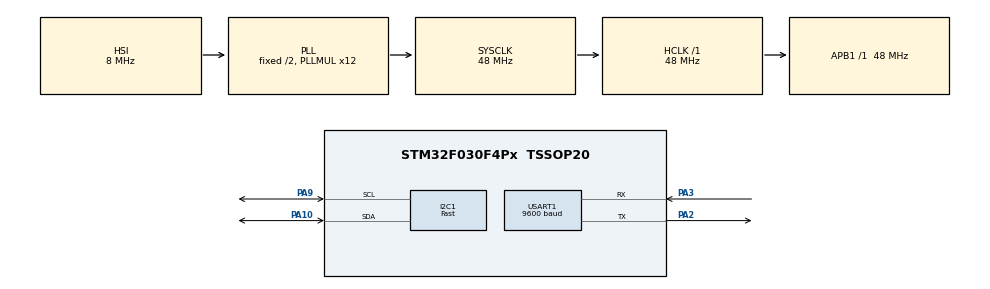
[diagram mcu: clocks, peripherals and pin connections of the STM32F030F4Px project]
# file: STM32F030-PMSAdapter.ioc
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I2C1.I2C_Speed_Mode=I2C_Fast
I2C1.OwnAddress=0x25
I2C1.Timing=0x2010091A
Mcu.Family=STM32F0
Mcu.Name=STM32F030F4Px
Mcu.Package=TSSOP20
NVIC.I2C1_IRQn=true\:0\:0\:false\:false\:true\:true\:true
NVIC.USART1_IRQn=true\:0\:0\:false\:false\:true\:true\:true
PA10.Mode=I2C
PA10.Signal=I2C1_SDA
PA2.GPIO_PuPd=GPIO_PULLUP
PA2.Mode=Asynchronous
PA2.Signal=USART1_TX
PA3.GPIO_PuPd=GPIO_PULLUP
PA3.Mode=Asynchronous
PA3.Signal=USART1_RX
PA9.Mode=I2C
PA9.Signal=I2C1_SCL
ProjectManager.HeapSize=0x200
ProjectManager.StackSize=0x400
ProjectManager.TargetToolchain=MDK-ARM V5
RCC.AHBFreq_Value=48000000
RCC.APB1Freq_Value=48000000
RCC.APB1TimFreq_Value=48000000
RCC.HCLKFreq_Value=48000000
RCC.I2c1ClockSelection=RCC_I2C1CLKSOURCE_SYSCLK
RCC.PLLMUL=RCC_PLL_MUL12
RCC.SYSCLKFreq_VALUE=48000000
RCC.SYSCLKSource=RCC_SYSCLKSOURCE_PLLCLK
USART1.BaudRate=9600
USART1.VirtualMode-Asynchronous=VM_ASYNC
board=custom

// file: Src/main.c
/* USER CODE BEGIN Header */
/**
  ******************************************************************************
  * @file           : main.c
  * @brief          : Main program body
  ******************************************************************************
  * @attention
  *
  * <h2><center>&copy; Copyright (c) 2019 STMicroelectronics.
  * All rights reserved.</center></h2>
  *
  * This software component is licensed by ST under BSD 3-Clause license,
  * the "License"; You may not use this file except in compliance with the
  * License. You may obtain a copy of the License at:
  *                        opensource.org/licenses/BSD-3-Clause
  *
  ******************************************************************************
  */
/* USER CODE END Header */

#include "main.h"

/* USER CODE BEGIN Includes */
#include <stdio.h>
#include <string.h>
/* USER CODE END Includes */

I2C_HandleTypeDef hi2c1;

UART_HandleTypeDef huart1;

void SystemClock_Config(void);
static void MX_GPIO_Init(void);
static void MX_I2C1_Init(void);
static void MX_USART1_UART_Init(void);

/* USER CODE BEGIN 0 */
int i = 0;

uint8_t data_buffer[13];

uint8_t payload[30];
uint16_t frameLen = 0;
uint16_t checksum = 0;
uint16_t calculatedChecksum = 0;
uint8_t dataIndex = 0;

void pms_process(uint8_t ch) {
  switch (dataIndex) {
    case 0:
      if (ch != 0x42) {
        return;
      }
      calculatedChecksum = ch;
      break;

    case 1:
      if (ch != 0x4D) {
        dataIndex = 0;
        return;
      }
      calculatedChecksum += ch;
      break;

    case 2:
      frameLen = ch << 8;
      calculatedChecksum += ch;
      break;

    case 3:
      frameLen |= ch;
      calculatedChecksum += ch;
      break;

    default:
      if (dataIndex == frameLen + 2) {
        checksum = ch << 8;
      } else if (dataIndex == frameLen + 2 + 1) {
        checksum |= ch;

        if (calculatedChecksum == checksum) {
          /*
          PM_SP_UG_1_0 = (((uint16_t)payload[0]) << 8) | payload[1];
          PM_SP_UG_2_5 = (((uint16_t)payload[2]) << 8) | payload[3];
          PM_SP_UG_10_0 = (((uint16_t)payload[4]) << 8) | payload[5];

          PM_AE_UG_1_0 = (((uint16_t)payload[6]) << 8) | payload[7];
          PM_AE_UG_2_5 = (((uint16_t)payload[8]) << 8) | payload[9];
          PM_AE_UG_10_0 = (((uint16_t)payload[10]) << 8) | payload[11];
          */

          data_buffer[0] = 0; // Error flag
          memcpy(&data_buffer[1], payload, 12);
        } else {
          data_buffer[0] = 1; // Error flag
          memset(&data_buffer[1], 12, 0);
        }

        dataIndex = 0;
        return;
      } else {
        calculatedChecksum += ch;
        uint8_t payloadIndex = dataIndex - 4;

        if (payloadIndex < sizeof(payload)) {
          payload[payloadIndex] = ch;
        }
      }
  }

  dataIndex++;
}

uint8_t data_offset = 0;

HAL_StatusTypeDef I2C_Slave_isr(struct __I2C_HandleTypeDef *hi2c, uint32_t ITFlags, uint32_t ITSources) {
	if (hi2c->Instance->ISR & (I2C_ISR_ADDR)) {
		/* Clear ADDR flag */
    __HAL_I2C_CLEAR_FLAG(hi2c, I2C_FLAG_ADDR);
	}

	if (hi2c->Instance->ISR & (I2C_ISR_RXNE)) {
		uint8_t data = hi2c->Instance->RXDR;
	}

	if (hi2c->Instance->ISR & (I2C_ISR_TXIS)) {
		hi2c->Instance->TXDR = data_buffer[data_offset++];
	}

	if (data_offset >= sizeof data_buffer) {
		data_offset = 0;
	}

	if (hi2c->Instance->ISR & (I2C_ISR_STOPF)) {
		__HAL_I2C_CLEAR_FLAG(hi2c, I2C_FLAG_STOPF);

    /* Clear ADDR flag */
    __HAL_I2C_CLEAR_FLAG(hi2c, I2C_FLAG_ADDR);

		// flush the transmit data register I2C_TXDR
		__HAL_I2C_CLEAR_FLAG(hi2c, I2C_FLAG_TXE);

		data_offset = 0;
	}

	return HAL_OK;
}
/* USER CODE END 0 */

int main(void)
{

  /* MCU Configuration--------------------------------------------------------*/

  /* Reset of all peripherals, Initializes the Flash interface and the Systick. */
  HAL_Init();

  /* Configure the system clock */
  SystemClock_Config();

  /* Initialize all configured peripherals */
  MX_GPIO_Init();
  MX_I2C1_Init();
  MX_USART1_UART_Init();
  /* USER CODE BEGIN 2 */

  /* Enable the UART Error Interrupt: (Frame error, noise error, overrun error) */
  SET_BIT(huart1.Instance->CR3, USART_CR3_EIE);

  /* Enable the UART Parity Error and Data Register not empty Interrupts */
  SET_BIT(huart1.Instance->CR1, USART_CR1_PEIE | USART_CR1_RXNEIE);

  // ====|| I2C Slave setup with interrupt ||====

  /* Enable Address Acknowledge */
  hi2c1.Instance->CR2 &= ~I2C_CR2_NACK;

  // Set isr function
  hi2c1.XferISR = I2C_Slave_isr;

  // Enable I2C interrup
  __HAL_I2C_ENABLE_IT(&hi2c1, I2C_IT_ADDRI | I2C_IT_STOPI | I2C_IT_TXI | I2C_IT_RXI);

  /* USER CODE END 2 */

  /* Infinite loop */
  while (1)
  {

    /* USER CODE BEGIN 3 */
    //HAL_I2C_Slave_Transmit(&hi2c1, data_buffer, 13, 100);
    //i++;
    // HAL_Delay(100);
  }
  /* USER CODE END 3 */
}

void SystemClock_Config(void)
{
  RCC_OscInitTypeDef RCC_OscInitStruct = {0};
  RCC_ClkInitTypeDef RCC_ClkInitStruct = {0};
  RCC_PeriphCLKInitTypeDef PeriphClkInit = {0};

  /** Initializes the CPU, AHB and APB busses clocks
  */
  RCC_OscInitStruct.OscillatorType = RCC_OSCILLATORTYPE_HSI;
  RCC_OscInitStruct.HSIState = RCC_HSI_ON;
  RCC_OscInitStruct.HSICalibrationValue = RCC_HSICALIBRATION_DEFAULT;
  RCC_OscInitStruct.PLL.PLLState = RCC_PLL_ON;
  RCC_OscInitStruct.PLL.PLLSource = RCC_PLLSOURCE_HSI;
  RCC_OscInitStruct.PLL.PLLMUL = RCC_PLL_MUL12;
  RCC_OscInitStruct.PLL.PREDIV = RCC_PREDIV_DIV1;
  if (HAL_RCC_OscConfig(&RCC_OscInitStruct) != HAL_OK)
  {
    Error_Handler();
  }
  /** Initializes the CPU, AHB and APB busses clocks
  */
  RCC_ClkInitStruct.ClockType = RCC_CLOCKTYPE_HCLK|RCC_CLOCKTYPE_SYSCLK
                              |RCC_CLOCKTYPE_PCLK1;
  RCC_ClkInitStruct.SYSCLKSource = RCC_SYSCLKSOURCE_PLLCLK;
  RCC_ClkInitStruct.AHBCLKDivider = RCC_SYSCLK_DIV1;
  RCC_ClkInitStruct.APB1CLKDivider = RCC_HCLK_DIV1;

  if (HAL_RCC_ClockConfig(&RCC_ClkInitStruct, FLASH_LATENCY_1) != HAL_OK)
  {
    Error_Handler();
  }
  PeriphClkInit.PeriphClockSelection = RCC_PERIPHCLK_USART1|RCC_PERIPHCLK_I2C1;
  PeriphClkInit.Usart1ClockSelection = RCC_USART1CLKSOURCE_PCLK1;
  PeriphClkInit.I2c1ClockSelection = RCC_I2C1CLKSOURCE_SYSCLK;
  if (HAL_RCCEx_PeriphCLKConfig(&PeriphClkInit) != HAL_OK)
  {
    Error_Handler();
  }
}

static void MX_I2C1_Init(void)
{

  hi2c1.Instance = I2C1;
  hi2c1.Init.Timing = 0x2010091A;
  hi2c1.Init.OwnAddress1 = 74;
  hi2c1.Init.AddressingMode = I2C_ADDRESSINGMODE_7BIT;
  hi2c1.Init.DualAddressMode = I2C_DUALADDRESS_DISABLE;
  hi2c1.Init.OwnAddress2 = 0;
  hi2c1.Init.OwnAddress2Masks = I2C_OA2_NOMASK;
  hi2c1.Init.GeneralCallMode = I2C_GENERALCALL_DISABLE;
  hi2c1.Init.NoStretchMode = I2C_NOSTRETCH_DISABLE;
  if (HAL_I2C_Init(&hi2c1) != HAL_OK)
  {
    Error_Handler();
  }
  /** Configure Analogue filter
  */
  if (HAL_I2CEx_ConfigAnalogFilter(&hi2c1, I2C_ANALOGFILTER_ENABLE) != HAL_OK)
  {
    Error_Handler();
  }
  /** Configure Digital filter
  */
  if (HAL_I2CEx_ConfigDigitalFilter(&hi2c1, 0) != HAL_OK)
  {
    Error_Handler();
  }

}

static void MX_USART1_UART_Init(void)
{

  huart1.Instance = USART1;
  huart1.Init.BaudRate = 9600;
  huart1.Init.WordLength = UART_WORDLENGTH_8B;
  huart1.Init.StopBits = UART_STOPBITS_1;
  huart1.Init.Parity = UART_PARITY_NONE;
  huart1.Init.Mode = UART_MODE_TX_RX;
  huart1.Init.HwFlowCtl = UART_HWCONTROL_NONE;
  huart1.Init.OverSampling = UART_OVERSAMPLING_16;
  huart1.Init.OneBitSampling = UART_ONE_BIT_SAMPLE_DISABLE;
  huart1.AdvancedInit.AdvFeatureInit = UART_ADVFEATURE_NO_INIT;
  if (HAL_UART_Init(&huart1) != HAL_OK)
  {
    Error_Handler();
  }

}

static void MX_GPIO_Init(void)
{

  /* GPIO Ports Clock Enable */
  __HAL_RCC_GPIOA_CLK_ENABLE();

}

void Error_Handler(void)
{
}

/************************ (C) COPYRIGHT STMicroelectronics *****END OF FILE****/
